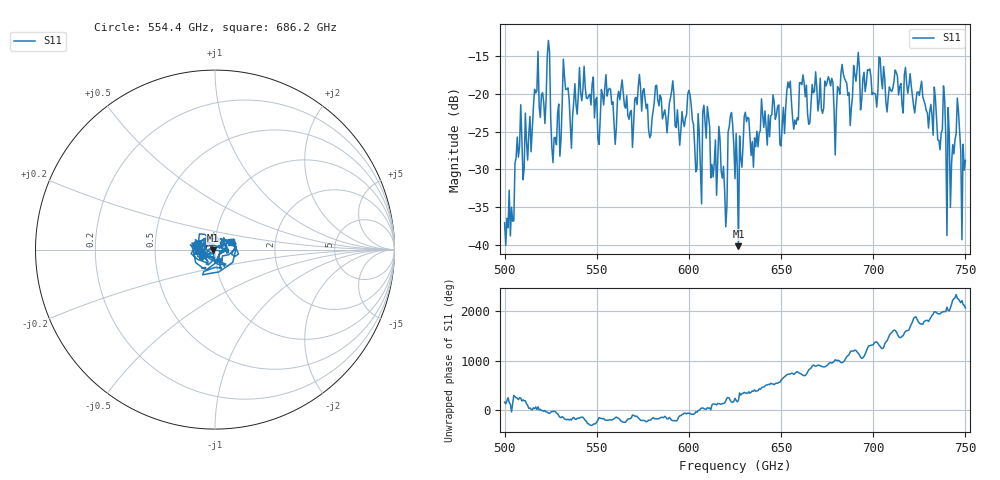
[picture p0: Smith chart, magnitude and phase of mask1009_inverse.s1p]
!Created with skrf (http://scikit-rf.org).
# GHz S MA R 50.0
!freq magS11 angS11
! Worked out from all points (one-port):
!   401 points, 500 GHz to 750 GHz, reference 50 ohm
!   lowest |S11| = -40.2 dB at 626.9 GHz (marker M1), VSWR 1.02, Z = 49.1 - j0.338 ohm
!   |S11| at or under -10 dB: start of sweep to end of sweep
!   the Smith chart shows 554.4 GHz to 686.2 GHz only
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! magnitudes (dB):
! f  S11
! 500 GHz  -37.1
! 516.9 GHz  -19.9
! 523.8 GHz  -12.9
! 526.9 GHz  -25.8
! 531.2 GHz  -21.2
! 562.5 GHz  -20.8
! 579.4 GHz  -25.4
! 590.6 GHz  -19.6
! 593.8 GHz  -22.1
! 600.6 GHz  -20.2
! 605.6 GHz  -25.3
! 609.4 GHz  -25.9
! 619.4 GHz  -32.7
! 622.5 GHz  -22.9
! 625 GHz  -31.2
! 626.9 GHz  -40.2
! 631.2 GHz  -23.7
! 635 GHz  -29.7
! 656.2 GHz  -23.2
! 680 GHz  -22.3
! 683.8 GHz  -17.4
! 687.5 GHz  -24.2
! 690.6 GHz  -18.3
! 718.8 GHz  -19.9
! 738.1 GHz  -19.0
! 741.2 GHz  -25.3
! 745.6 GHz  -20.6
! 750 GHz  -28.8
